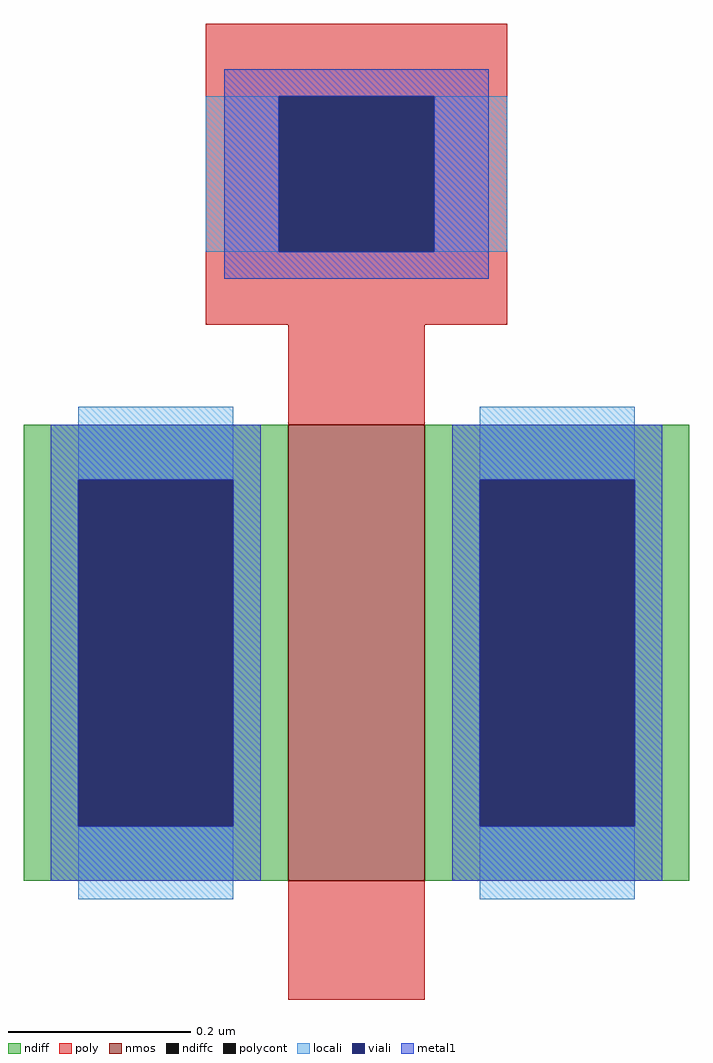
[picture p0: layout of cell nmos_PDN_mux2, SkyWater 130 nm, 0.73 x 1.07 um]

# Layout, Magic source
magic
tech sky130A
magscale 1 2
<< nmos >>
rect -15 -90 15 10
<< ndiff >>
rect -73 -2 -15 10
rect -73 -78 -61 -2
rect -27 -78 -15 -2
rect -73 -90 -15 -78
rect 15 -2 73 10
rect 15 -78 27 -2
rect 61 -78 73 -2
rect 15 -90 73 -78
<< ndiffc >>
rect -61 -78 -27 -2
rect 27 -78 61 -2
<< poly >>
rect -33 82 33 98
rect -33 48 -17 82
rect 17 48 33 82
rect -33 32 33 48
rect -15 10 15 32
rect -15 -116 15 -90
<< polycont >>
rect -17 48 17 82
<< locali >>
rect -33 48 -17 82
rect 17 48 33 82
rect -61 -2 -27 14
rect -61 -94 -27 -78
rect 27 -2 61 14
rect 27 -94 61 -78
<< viali >>
rect -17 48 17 82
rect -61 -78 -27 -2
rect 27 -78 61 -2
<< metal1 >>
rect -29 82 29 88
rect -29 48 -17 82
rect 17 48 29 82
rect -29 42 29 48
rect -67 -2 -21 10
rect -67 -78 -61 -2
rect -27 -78 -21 -2
rect -67 -90 -21 -78
rect 21 -2 67 10
rect 21 -78 27 -2
rect 61 -78 67 -2
rect 21 -90 67 -78
<< properties >>
string gencell sky130_fd_pr__nfet_01v8
string library sky130
string parameters w 0.420 l 0.150 m 1 nf 1 diffcov 100 polycov 100 guard 0 glc 0 grc 0 gtc 0 gbc 0 tbcov 100 rlcov 100 topc 1 botc 0 poverlap 0 doverlap 1 lmin 0.15 wmin 0.42 compatible {sky130_fd_pr__nfet_01v8 sky130_fd_pr__nfet_01v8_lvt  sky130_fd_bs_flash__special_sonosfet_star  sky130_fd_pr__nfet_g5v0d10v5 sky130_fd_pr__nfet_05v0_nvt  sky130_fd_pr__nfet_03v3_nvt} full_metal 0 viasrc 100 viadrn 100 viagate 100 viagb 0 viagr 0 viagl 0 viagt 0
<< end >>
